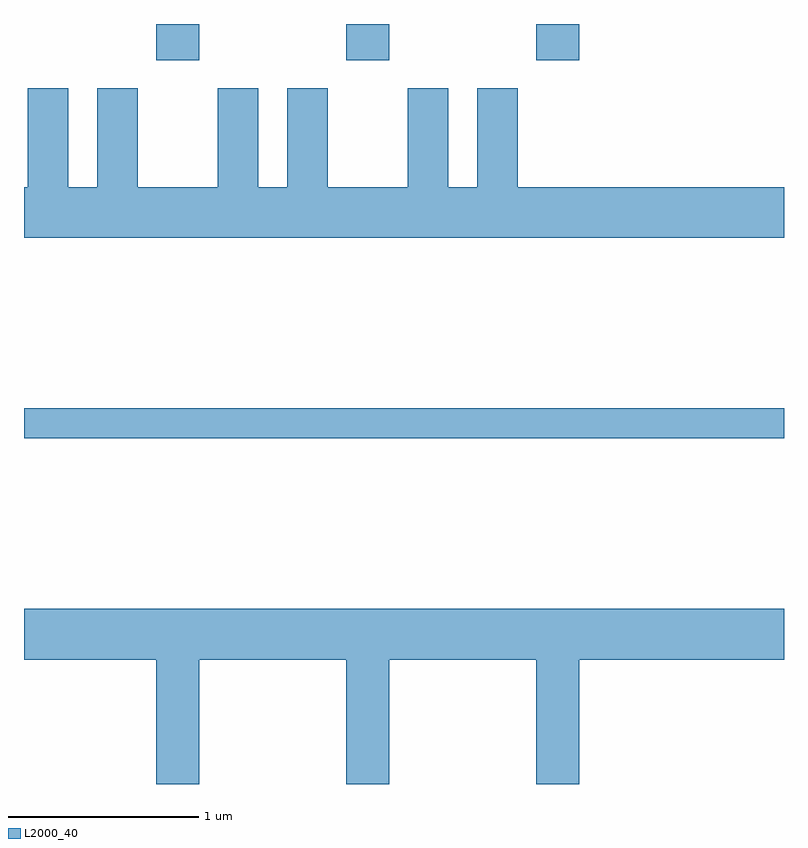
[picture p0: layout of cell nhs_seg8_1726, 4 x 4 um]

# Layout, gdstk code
import gdstk
lib = gdstk.Library(unit=1e-6, precision=1e-09)
def R(c, l, rs):  # rectangles x0, y0, x1, y1
    for r in rs: c.add(gdstk.rectangle(r[:2], r[2:], *l))
def A(c, l, x, y, w, h, nx, ny, dx, dy):  # array of equal rectangles
    R(c, l, [(x+i*dx, y+j*dy, x+i*dx+w, y+j*dy+h) for i in range(nx) for j in range(ny)])
def P(c, l, *ps):  # polygons
    for p in ps: c.add(gdstk.Polygon(p, *l))
L2000_40 = (2000, 40)

nhs_seg8_1726 = lib.new_cell('nhs_seg8_1726')
A(nhs_seg8_1726, L2000_40, 236.306, 1926.151, 0.228, 0.191, 3, 1, 1, 0)
R(nhs_seg8_1726, L2000_40, [(235.611,1924.161,239.611,1924.319)])
P(nhs_seg8_1726, L2000_40, [(235.996,1926.004),(235.996,1925.484),(235.844,1925.484),(235.844,1926.004),(235.631,1926.004),(235.631,1925.484),(235.611,1925.484),(235.611,1925.216),(239.611,1925.216),(239.611,1925.484),(238.209,1925.484),(238.209,1926.004),(237.996,1926.004),(237.996,1925.484),(237.844,1925.484),(237.844,1926.004),(237.631,1926.004),(237.631,1925.484),(237.209,1925.484),(237.209,1926.004),(236.996,1926.004),(236.996,1925.484),(236.844,1925.484),(236.844,1926.004),(236.631,1926.004),(236.631,1925.484),(236.209,1925.484),(236.209,1926.004)],
  [(236.534,1922.996),(237.306,1922.996),(237.306,1922.342),(237.534,1922.342),(237.534,1922.996),(238.306,1922.996),(238.306,1922.342),(238.534,1922.342),(238.534,1922.996),(239.611,1922.996),(239.611,1923.264),(235.611,1923.264),(235.611,1922.996),(236.306,1922.996),(236.306,1922.342),(236.534,1922.342)])

lib.write_gds('nhs_seg8_1726.gds')
